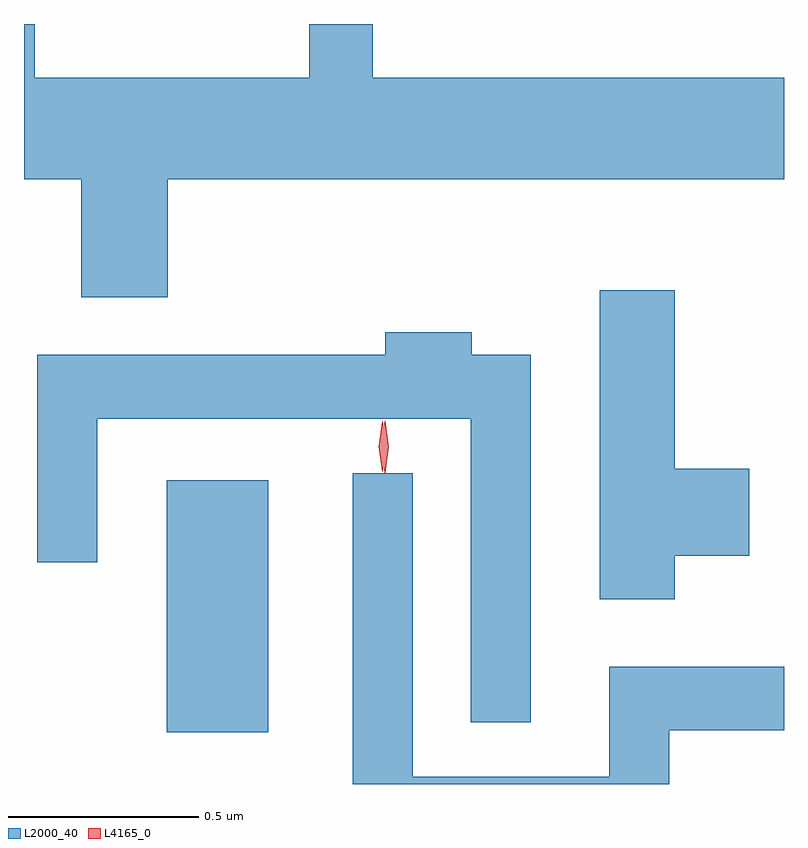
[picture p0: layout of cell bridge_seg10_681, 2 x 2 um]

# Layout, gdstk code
import gdstk
lib = gdstk.Library(unit=1e-6, precision=1e-09)
def R(c, l, rs):  # rectangles x0, y0, x1, y1
    for r in rs: c.add(gdstk.rectangle(r[:2], r[2:], *l))
def P(c, l, *ps):  # polygons
    for p in ps: c.add(gdstk.Polygon(p, *l))
L2000_40 = (2000, 40)
L4165_0 = (4165, 0)

bridge_seg10_681 = lib.new_cell('bridge_seg10_681')
R(bridge_seg10_681, L2000_40, [(1004.106,2110.241,1004.374,2110.904)])
P(bridge_seg10_681, L2000_40, [(1004.109,2111.696),(1005.731,2111.696),(1005.731,2111.964),(1004.649,2111.964),(1004.649,2112.105),(1004.481,2112.105),(1004.481,2111.964),(1003.759,2111.964),(1003.759,2112.105),(1003.731,2112.105),(1003.731,2111.696),(1003.881,2111.696),(1003.881,2111.386),(1004.109,2111.386)],
  [(1005.444,2110.706),(1005.639,2110.706),(1005.639,2110.934),(1005.444,2110.934),(1005.444,2111.404),(1005.246,2111.404),(1005.246,2110.591),(1005.444,2110.591)],
  [(1005.064,2111.234),(1004.909,2111.234),(1004.909,2111.294),(1004.681,2111.294),(1004.681,2111.234),(1003.766,2111.234),(1003.766,2110.688),(1003.924,2110.688),(1003.924,2111.066),(1004.906,2111.066),(1004.906,2110.268),(1005.064,2110.268)],
  [(1005.429,2110.246),(1005.731,2110.246),(1005.731,2110.414),(1005.271,2110.414),(1005.271,2110.124),(1004.754,2110.124),(1004.754,2110.923),(1004.596,2110.923),(1004.596,2110.105),(1005.429,2110.105)])
P(bridge_seg10_681, L4165_0, [(1004.68,2110.924),(1004.671,2110.992),(1004.68,2111.06),(1004.681,2111.061),(1004.681,2111.06),(1004.691,2110.992),(1004.681,2110.924),(1004.681,2110.924)],
  [(1004.675,2110.927),(1004.674,2110.928),(1004.664,2110.993),(1004.674,2111.058),(1004.674,2111.059),(1004.675,2111.058),(1004.684,2110.993),(1004.675,2110.928)])

lib.write_gds('bridge_seg10_681.gds')
